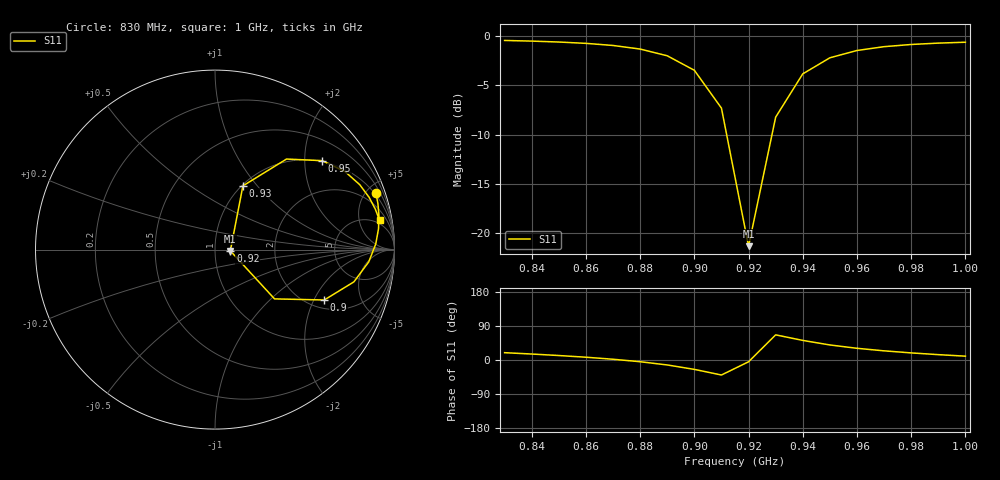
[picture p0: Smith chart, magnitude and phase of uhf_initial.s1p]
# Hz S RI R 50
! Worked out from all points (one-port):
!   18 points, 830 MHz to 1 GHz, reference 50 ohm
!   lowest |S11| = -21.3 dB at 920 MHz (marker M1), VSWR 1.19, Z = 59.3 - j0.835 ohm
!   |S11| at or under -10 dB: 911.9 MHz to 928.7 MHz (16.74 MHz wide, 1.82 % of centre)
!   S11 on the Smith chart (normalised r, x): 830 MHz: 0.89, +5.75; 900 MHz: 2.38, -2.42; 920 MHz: 1.19, -0.02; 930 MHz: 1.01, +0.85; 950 MHz: 0.98, +2.43; 1 GHz: 4, +10
8.3e8  0.8969 0.3142
8.4e8  0.9078 0.256
8.5e8  0.9134 0.1909
8.6e8  0.9111 0.117
8.7e8  0.8957 0.0315
8.8e8  0.8568 -0.068
8.9e8  0.7739 -0.1798
9e8  0.6089 -0.2806
9.1e8  0.3318 -0.2746
9.2e8  0.0854 -0.00699
9.3e8  0.1554 0.355
9.4e8  0.3984 0.5045
9.5e8  0.5971 0.4956
9.6e8  0.7254 0.4339
9.7e8  0.8064 0.3617
9.8e8  0.8587 0.2912
9.9e8  0.8934 0.225
1e9  0.9165 0.1634
